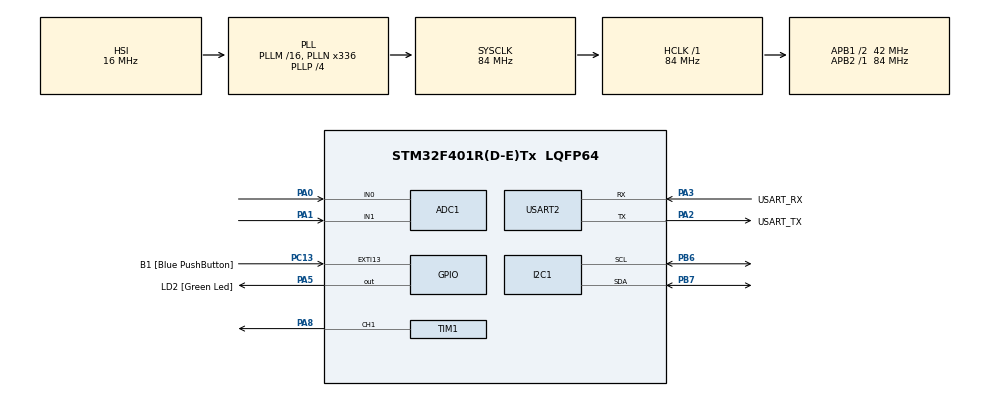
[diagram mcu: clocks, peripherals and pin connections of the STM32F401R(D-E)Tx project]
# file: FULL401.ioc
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ADC1.Channel-0\#ChannelRegularConversion=ADC_CHANNEL_0
ADC1.Channel-1\#ChannelRegularConversion=ADC_CHANNEL_1
ADC1.Channel-2\#ChannelRegularConversion=ADC_CHANNEL_VREFINT
ADC1.ContinuousConvMode=ENABLE
ADC1.NbrOfConversion=3
ADC1.NbrOfConversionFlag=1
ADC1.Rank-0\#ChannelRegularConversion=1
ADC1.Rank-1\#ChannelRegularConversion=2
ADC1.Rank-2\#ChannelRegularConversion=3
ADC1.SamplingTime-0\#ChannelRegularConversion=ADC_SAMPLETIME_112CYCLES
ADC1.SamplingTime-1\#ChannelRegularConversion=ADC_SAMPLETIME_112CYCLES
ADC1.SamplingTime-2\#ChannelRegularConversion=ADC_SAMPLETIME_112CYCLES
ADC1.ScanConvMode=ENABLE
ADC1.master=1
I2C1.I2C_Mode=I2C_Fast
Mcu.Family=STM32F4
Mcu.Name=STM32F401R(D-E)Tx
Mcu.Package=LQFP64
NVIC.PriorityGroup=NVIC_PRIORITYGROUP_4
PA0-WKUP.Signal=ADCx_IN0
PA1.Signal=ADCx_IN1
PA13.GPIO_Label=TMS
PA13.Mode=Trace_Asynchronous_SW
PA13.Signal=SYS_JTMS-SWDIO
PA14.GPIO_Label=TCK
PA14.Mode=Trace_Asynchronous_SW
PA14.Signal=SYS_JTCK-SWCLK
PA2.GPIO_Label=USART_TX
PA2.GPIO_Mode=GPIO_MODE_AF_PP
PA2.GPIO_PuPd=GPIO_NOPULL
PA2.GPIO_Speed=GPIO_SPEED_FREQ_LOW
PA2.Mode=Asynchronous
PA2.Signal=USART2_TX
PA3.GPIO_Label=USART_RX
PA3.GPIO_Mode=GPIO_MODE_AF_PP
PA3.GPIO_PuPd=GPIO_NOPULL
PA3.GPIO_Speed=GPIO_SPEED_FREQ_LOW
PA3.Mode=Asynchronous
PA3.Signal=USART2_RX
PA5.GPIO_Label=LD2 [Green Led]
PA5.GPIO_Mode=GPIO_MODE_OUTPUT_PP
PA5.GPIO_PuPd=GPIO_NOPULL
PA5.GPIO_Speed=GPIO_SPEED_FREQ_LOW
PA5.Signal=GPIO_Output
PA8.Signal=S_TIM1_CH1
PB3.GPIO_Label=SWO
PB3.Mode=Trace_Asynchronous_SW
PB3.Signal=SYS_JTDO-SWO
PB6.Mode=I2C
PB6.Signal=I2C1_SCL
PB7.Mode=I2C
PB7.Signal=I2C1_SDA
PC13-ANTI_TAMP.GPIO_Label=B1 [Blue PushButton]
PC13-ANTI_TAMP.GPIO_ModeDefaultEXTI=GPIO_MODE_IT_FALLING
PC13-ANTI_TAMP.GPIO_PuPd=GPIO_NOPULL
PC13-ANTI_TAMP.Signal=GPXTI13
PC14-OSC32_IN.Mode=LSE-External-Oscillator
PC14-OSC32_IN.Signal=RCC_OSC32_IN
PC15-OSC32_OUT.Mode=LSE-External-Oscillator
PC15-OSC32_OUT.Signal=RCC_OSC32_OUT
PH0\ -\ OSC_IN.Mode=HSE-External-Clock-Source
PH0\ -\ OSC_IN.Signal=RCC_OSC_IN
PH1\ -\ OSC_OUT.Mode=HSE-External-Clock-Source
PH1\ -\ OSC_OUT.Signal=RCC_OSC_OUT
ProjectManager.HeapSize=0x200
ProjectManager.StackSize=0x400
ProjectManager.TargetToolchain=MDK-ARM V5.32
RCC.48MHZClocksFreq_Value=48000000
RCC.AHBFreq_Value=84000000
RCC.APB1CLKDivider=RCC_HCLK_DIV2
RCC.APB1Freq_Value=42000000
RCC.APB1TimFreq_Value=84000000
RCC.APB2Freq_Value=84000000
RCC.APB2TimFreq_Value=84000000
RCC.CortexFreq_Value=84000000
RCC.HCLKFreq_Value=84000000
RCC.HSE_VALUE=8000000
RCC.HSI_VALUE=16000000
RCC.PLLN=336
RCC.PLLP=RCC_PLLP_DIV4
RCC.PLLQ=7
RCC.SYSCLKFreq_VALUE=84000000
RCC.SYSCLKSource=RCC_SYSCLKSOURCE_PLLCLK
RCC.VCOOutputFreq_Value=336000000
SH.ADCx_IN0.0=ADC1_IN0,IN0
SH.ADCx_IN1.0=ADC1_IN1,IN1
SH.S_TIM1_CH1.0=TIM1_CH1,PWM Generation1 CH1
TIM1.Channel-PWM\ Generation1\ CH1=TIM_CHANNEL_1
TIM1.Period=1000
TIM1.Prescaler=83
USART2.VirtualMode=VM_ASYNC
VP_ADC1_Vref_Input.Mode=IN-Vrefint
VP_TIM1_VS_ClockSourceINT.Mode=Internal
board=NUCLEO-F401RE

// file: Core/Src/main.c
/* USER CODE BEGIN Header */
/**
  ******************************************************************************
  * @file           : main.c
  * @brief          : Main program body
  ******************************************************************************
  * @attention
  *
  * Copyright (c) 2025 STMicroelectronics.
  * All rights reserved.
  *
  * This software is licensed under terms that can be found in the LICENSE file
  * in the root directory of this software component.
  * If no LICENSE file comes with this software, it is provided AS-IS.
  *
  ******************************************************************************
  */
/* USER CODE END Header */
#include "main.h"
#include "adc.h"
#include "i2c.h"
#include "tim.h"
#include "usart.h"
#include "gpio.h"
#include <stdio.h>

/* USER CODE BEGIN PD */
extern UART_HandleTypeDef huart2;
#define INA219_ADDRESS (0x40<<1) // I2C address
#define CONFIG_REG  0x00
#define SHUNT_VOLTAGE_REG 0x01
#define BUS_VOLTAGE_REG 0x02
#define POWER_REG 0x03
#define CURRENT_REG 0x04
#define CALIBRATION_REG 0x05

#define INA219_CONFIG 0x399F // register value
#define R_SHUNT 0.1f // shunt resistor 0.1O
#define MAX_EXPECTED_CURRENT 3.2f
#define CURRENT_LSB (MAX_EXPECTED_CURRENT / 32767.0f)
#define POWER_LSB (20.0f * CURRENT_LSB)
uint16_t INA219_CALIBRATION_VALUE;

#define I_TARGET  0.3f    // constant current
#define V_TARGET  4.2f    // target voltage 4.2v
#define TEMP_LIMIT 45.0f  // temperature limit

int pwm_duty = 0;    // initialise  duty cycle
uint32_t temp_counter = 0;
float temperature = 25.0f;
int in_cv_mode = 0; // flag
int first_run = 1; // first loop

/* USER CODE END PD */

void SystemClock_Config(void);

/* USER CODE BEGIN 0 */
int fputc(int ch, FILE *f){
	HAL_UART_Transmit(&huart2 , (uint8_t *)&ch, 1, 0xFFFF);
	return ch;
}

void I2C_Scan() {
    printf("Scanning I2C bus...\n");
    for (uint8_t addr = 0x40; addr <= 0x4F; addr++) {
        if (HAL_I2C_IsDeviceReady(&hi2c1, addr << 1, 2, 100) == HAL_OK) {
					  if (first_run == 1) {
            printf("Found I2C device at 0x%X\n", addr);
						}
        }
    }
}

void INA219_WriteRegister(uint8_t reg, uint16_t value) {
    uint8_t data[2] = { (value >> 8) & 0xFF, value & 0xFF };
    HAL_StatusTypeDef status = HAL_I2C_Mem_Write(&hi2c1, INA219_ADDRESS, reg, I2C_MEMADD_SIZE_8BIT, data, 2, HAL_MAX_DELAY);
    if (status != HAL_OK) {
        printf("I2C Write Error at Register 0x%02X!\n", reg);
    } else {
				if (first_run == 1) {
        printf("I2C Write Success at Register 0x%02X: 0x%04X\n", reg, value);
				}
    }
    HAL_Delay(10); //
}

uint16_t INA219_ReadRegister(uint8_t reg) {
    uint8_t data[2];
    HAL_StatusTypeDef status = HAL_I2C_Mem_Read(&hi2c1, INA219_ADDRESS, reg, I2C_MEMADD_SIZE_8BIT, data, 2, HAL_MAX_DELAY);
    if (status != HAL_OK) {
        printf("I2C Read Error!\n");
        return 0;
    }

    HAL_Delay(10); //

    uint16_t result = (data[0] << 8) | data[1];
		if (first_run == 1) {
    printf("I2C Read Success at Register 0x%02X: 0x%04X\n", reg, result);
		}
    return result;
}

uint16_t INA219_ReadRegister_Quiet(uint8_t reg) {
		uint8_t data[2];
    HAL_StatusTypeDef status = HAL_I2C_Mem_Read(&hi2c1, INA219_ADDRESS, reg, I2C_MEMADD_SIZE_8BIT, data, 2, HAL_MAX_DELAY);
     HAL_Delay(10); //

    uint16_t result = (data[0] << 8) | data[1];
		return result;
}

void INA219_Init(void) {

	  HAL_StatusTypeDef ret;

    //
    ret = HAL_I2C_IsDeviceReady(&hi2c1, INA219_ADDRESS, 2, HAL_MAX_DELAY);
    if (ret != HAL_OK) {
        printf("ERROR: INA219 not detected on I2C bus!\n");
        return;
    } else {
        printf("SUCCESS: INA219 device detected at 0x%X!\n", INA219_ADDRESS);
    }

    float cal_float = 0.04096f / (CURRENT_LSB * R_SHUNT);
    INA219_CALIBRATION_VALUE = (uint16_t)(cal_float + 0.5f);

    INA219_WriteRegister(CONFIG_REG, INA219_CONFIG);
    HAL_Delay(5);

    INA219_WriteRegister(CALIBRATION_REG, INA219_CALIBRATION_VALUE);
    HAL_Delay(10);

    uint16_t cal_reg = INA219_ReadRegister(CALIBRATION_REG);
		uint16_t config_reg = INA219_ReadRegister(CONFIG_REG);
    printf("Config Register Readback: 0x%04X\n", config_reg);

    if (config_reg == 0) {
        printf("ERROR: INA219 Configuration Register is 0, I2C WRITE FAILED!\n");
    }

    printf("INA219 Initialized, Calibration Register: %u\n", cal_reg);

}

float INA219_ReadCurrent(void) {
    int16_t rawShuntVoltage = (int16_t)INA219_ReadRegister(SHUNT_VOLTAGE_REG);
    float shuntVoltage = rawShuntVoltage * 0.01f; // mV
    float current_A = (shuntVoltage / R_SHUNT) / 1000.0f; // A
    printf("Raw Shunt Voltage: %d, Shunt Voltage: %.3f mV, Current: %.3f A\n", rawShuntVoltage, shuntVoltage, current_A);
    return current_A;
}

float INA219_ReadCurrent_Register(void) {
    int16_t rawCurrent = (int16_t)INA219_ReadRegister(CURRENT_REG);
    float current_A_2 = rawCurrent * CURRENT_LSB;
		if (first_run == 1) {
				printf("Current Register Raw: %d, Current: %.3f A\n", rawCurrent, current_A_2);
		}
    return current_A_2;
}

float INA219_ReadBusVoltage(void) {
    uint16_t rawBusVoltage = INA219_ReadRegister(BUS_VOLTAGE_REG);
		if (first_run == 1) {
        printf("Raw Bus Voltage Register: 0x%04X\n", rawBusVoltage);
    }
    return (rawBusVoltage >> 3) * 0.004f; // change to voltage (V)

}

float INA219_ReadCurrent_Quiet(void) {
    int16_t rawShuntVoltage = (int16_t)INA219_ReadRegister_Quiet(SHUNT_VOLTAGE_REG);
    float shuntVoltage = rawShuntVoltage * 0.01f; // mV
    float current_A = (shuntVoltage / R_SHUNT) / 1000.0f; // A
    return current_A;
}

void Read_ADC_All(float *V_batt, float *temperature_new)
{

		uint32_t adc_vbatt_sum = 0;
    uint32_t adc_temp_sum = 0;
    uint32_t adc_vref_sum = 0;
	  for (int i = 0; i < 30; i++) {
        // === V_batt(PA0) ===
        HAL_ADC_Start(&hadc1);
        HAL_ADC_PollForConversion(&hadc1, HAL_MAX_DELAY);
        adc_vbatt_sum += HAL_ADC_GetValue(&hadc1);
        HAL_ADC_Stop(&hadc1);
        HAL_Delay(1);

        // === temp MCP9700(PA1) ===
        HAL_ADC_Start(&hadc1);
        HAL_ADC_PollForConversion(&hadc1, HAL_MAX_DELAY);
        adc_temp_sum += HAL_ADC_GetValue(&hadc1);
        HAL_ADC_Stop(&hadc1);
        HAL_Delay(1);

        // ===  Vrefint ===
        HAL_ADC_Start(&hadc1);
        HAL_ADC_PollForConversion(&hadc1, HAL_MAX_DELAY);
        adc_vref_sum += HAL_ADC_GetValue(&hadc1);
        HAL_ADC_Stop(&hadc1);
        HAL_Delay(1);
    }
	  float adc_vbatt_avg = adc_vbatt_sum / 30.0f;
    float adc_temp_avg = adc_temp_sum / 30.0f;
    float adc_vref_avg = adc_vref_sum / 30.0f;

	  uint16_t vrefint_cal = *VREFINT_CAL_ADDR;
	  float Vdda = 3.3f * ((float)vrefint_cal / adc_vref_avg);

	  float Vout = ((float)adc_temp_avg / 4095.0f) * Vdda;
	  float Temperature = (Vout - 0.5f) / 0.1f; // degree

    float Vadc_batt = 3.3f * adc_vbatt_avg / 4095.0f;
    *V_batt = Vadc_batt * (4.8f / 3.3f); // ????
}

/* USER CODE END 0 */

int main(void)
{

  /* MCU Configuration--------------------------------------------------------*/

  /* Reset of all peripherals, Initializes the Flash interface and the Systick. */
  HAL_Init();

  /* Configure the system clock */
  SystemClock_Config();

  /* Initialize all configured peripherals */
  MX_GPIO_Init();
  MX_ADC1_Init();
  MX_I2C1_Init();
  MX_TIM1_Init();
  MX_USART2_UART_Init();
  /* USER CODE BEGIN 2 */
	I2C_Scan();
	INA219_Init();
		HAL_TIM_PWM_Start(&htim1, TIM_CHANNEL_1);
	__HAL_TIM_SET_COMPARE(&htim1, TIM_CHANNEL_1, pwm_duty);
  /* USER CODE END 2 */

  /* Infinite loop */
  while (1)
  {
				float current_sum = 0;
				for (int i = 0; i < 150; i++) {
				float i_now = INA219_ReadCurrent_Quiet();

				current_sum += i_now;
				HAL_Delay(200);
				}
				float current = (current_sum / 150.0f)- 0.015f;
				float current_2 = INA219_ReadCurrent_Register();
				float bus_voltage = INA219_ReadBusVoltage(); // read busboltage
				float temperature_new = 0.0f;
				float V_batt = 0.0f;
				float temperature = 0.0f;
				Read_ADC_All(&V_batt, &temperature_new);
				temperature = temperature_new;
				float v_batt_est = bus_voltage - (current * 20.122f);

			if (first_run == 1) {
					printf("-------------------------\n");
					printf("battery Voltage: %.3f V, Current: %.3f A\n", V_batt, current);
					printf("reg_Current: %.3f A\n", current_2);
					printf("Calibration Register Value: %u\n", INA219_CALIBRATION_VALUE);
					printf("PWM Duty: %d,", pwm_duty);
					printf("-------------------------\n");

					first_run = 0;
			} else {
					printf("[V_batt: %.3f V]  [I: %.3f A]  [Temp: %.2f C ]  [PWM: %d] [%s Mode]\n",
								 V_batt, current, temperature_new, pwm_duty,
									in_cv_mode ? "CV" : "CC");
			}

			if (first_run == 1) {
					printf("Temperature (Previous): %.2f C\n", temperature);
			}

			// 20s renew temperature
			if (temp_counter >= 60) // 20*500ms = 10s
			{
					temperature = temperature_new;
					temp_counter = 0; //
			}
			else
			{
					temp_counter++;
			}

			// temperature protection
					if (temperature > TEMP_LIMIT)
			{
					printf("Temperature too high! Stopping charging!\n");
					printf("Duty cycle is 0!\n");
					__HAL_TIM_SET_COMPARE(&htim1, TIM_CHANNEL_1, 0); // PWM duty cycle set to 0
					continue;
			}

			//CC-CV charging
			if (!in_cv_mode && V_batt < V_TARGET)
			{
				printf("Constant Current Mode (CC Stage)\n");
					// CC stage
					if (current < I_TARGET)
					{
							pwm_duty -= 50; // decrease duty cycle
							if (pwm_duty > __HAL_TIM_GET_AUTORELOAD(&htim1))
							if (pwm_duty < 0) pwm_duty = 0;
					}
					else if (current > I_TARGET)
					{
							pwm_duty += 50; //increase duty cycle
							if (pwm_duty > __HAL_TIM_GET_AUTORELOAD(&htim1))
									pwm_duty = __HAL_TIM_GET_AUTORELOAD(&htim1);// set limit for max value duty cycle
					}
			}
			else
			{
					if (!in_cv_mode) {
					printf("Voltage reached target! Constant voltage stage!\n");
					in_cv_mode = 1;
					}
					printf("Constant Voltage Mode (CV Stage)\n");
					// CV stage
					if (current > 0.03f)
					{
							if (pwm_duty<= __HAL_TIM_GET_AUTORELOAD(&htim1))
								pwm_duty += 50;
							else
								pwm_duty = __HAL_TIM_GET_AUTORELOAD(&htim1);
					}
			}

			// renew duty cycle
			__HAL_TIM_SET_COMPARE(&htim1, TIM_CHANNEL_1, pwm_duty);

			printf("PWM Duty: %d\n", pwm_duty);

			HAL_Delay(120000); // 120s - 2minutes
	}
}

void SystemClock_Config(void)
{
  RCC_OscInitTypeDef RCC_OscInitStruct = {0};
  RCC_ClkInitTypeDef RCC_ClkInitStruct = {0};

  /** Configure the main internal regulator output voltage
  */
  __HAL_RCC_PWR_CLK_ENABLE();
  __HAL_PWR_VOLTAGESCALING_CONFIG(PWR_REGULATOR_VOLTAGE_SCALE2);

  /** Initializes the RCC Oscillators according to the specified parameters
  * in the RCC_OscInitTypeDef structure.
  */
  RCC_OscInitStruct.OscillatorType = RCC_OSCILLATORTYPE_HSI;
  RCC_OscInitStruct.HSIState = RCC_HSI_ON;
  RCC_OscInitStruct.HSICalibrationValue = RCC_HSICALIBRATION_DEFAULT;
  RCC_OscInitStruct.PLL.PLLState = RCC_PLL_ON;
  RCC_OscInitStruct.PLL.PLLSource = RCC_PLLSOURCE_HSI;
  RCC_OscInitStruct.PLL.PLLM = 16;
  RCC_OscInitStruct.PLL.PLLN = 336;
  RCC_OscInitStruct.PLL.PLLP = RCC_PLLP_DIV4;
  RCC_OscInitStruct.PLL.PLLQ = 7;
  if (HAL_RCC_OscConfig(&RCC_OscInitStruct) != HAL_OK)
  {
    Error_Handler();
  }

  /** Initializes the CPU, AHB and APB buses clocks
  */
  RCC_ClkInitStruct.ClockType = RCC_CLOCKTYPE_HCLK|RCC_CLOCKTYPE_SYSCLK
                              |RCC_CLOCKTYPE_PCLK1|RCC_CLOCKTYPE_PCLK2;
  RCC_ClkInitStruct.SYSCLKSource = RCC_SYSCLKSOURCE_PLLCLK;
  RCC_ClkInitStruct.AHBCLKDivider = RCC_SYSCLK_DIV1;
  RCC_ClkInitStruct.APB1CLKDivider = RCC_HCLK_DIV2;
  RCC_ClkInitStruct.APB2CLKDivider = RCC_HCLK_DIV1;

  if (HAL_RCC_ClockConfig(&RCC_ClkInitStruct, FLASH_LATENCY_2) != HAL_OK)
  {
    Error_Handler();
  }
}

void Error_Handler(void)
{
  __disable_irq();
  while (1)
  {
  }
}
